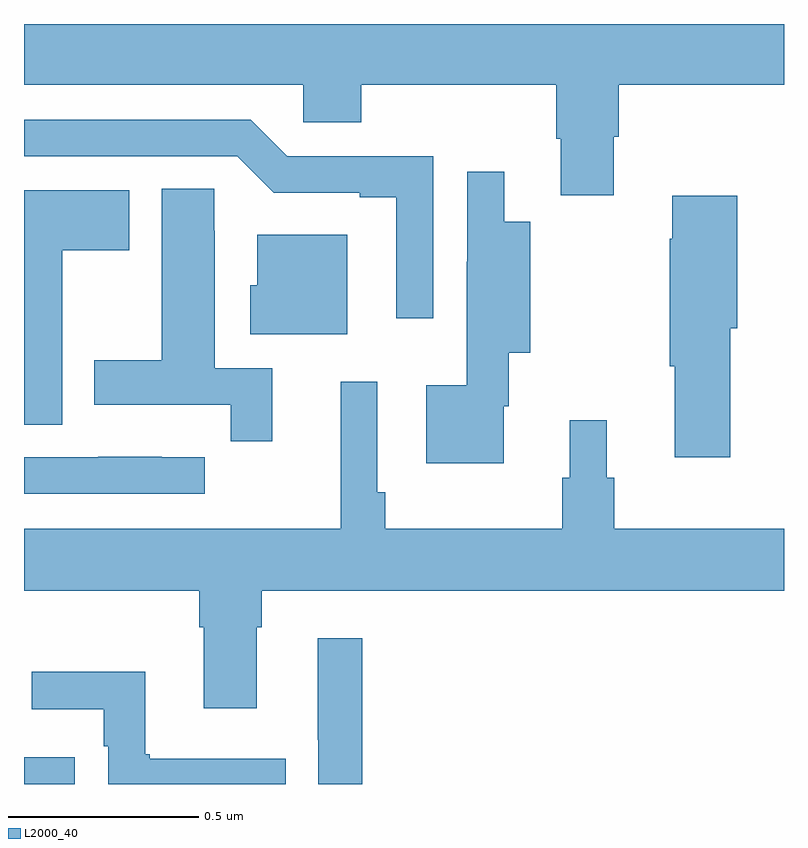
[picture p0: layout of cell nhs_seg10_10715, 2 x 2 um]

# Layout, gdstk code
import gdstk
lib = gdstk.Library(unit=1e-6, precision=1e-09)
def R(c, l, rs):  # rectangles x0, y0, x1, y1
    for r in rs: c.add(gdstk.rectangle(r[:2], r[2:], *l))
def P(c, l, *ps):  # polygons
    for p in ps: c.add(gdstk.Polygon(p, *l))
L2000_40 = (2000, 40)

nhs_seg10_10715 = lib.new_cell('nhs_seg10_10715')
R(nhs_seg10_10715, L2000_40, [(246,1274.5,246.133,1274.571)])
P(nhs_seg10_10715, L2000_40, [(247.552,1276.203),(247.565,1276.203),(247.565,1276.34),(248,1276.34),(248,1276.5),(246,1276.5),(246,1276.34),(246.735,1276.34),(246.735,1276.242),(246.887,1276.242),(246.887,1276.34),(247.4,1276.34),(247.4,1276.198),(247.412,1276.198),(247.412,1276.05),(247.552,1276.05)],
  [(247.077,1276.152),(246.693,1276.152),(246.597,1276.248),(246,1276.248),(246,1276.152),(246.561,1276.152),(246.657,1276.056),(246.884,1276.056),(246.884,1276.044),(246.98,1276.044),(246.98,1275.726),(247.077,1275.726)],
  [(247.263,1275.494),(247.276,1275.494),(247.276,1275.635),(247.332,1275.635),(247.332,1275.979),(247.264,1275.979),(247.264,1276.111),(247.166,1276.111),(247.166,1275.875),(247.165,1275.875),(247.165,1275.55),(247.058,1275.55),(247.058,1275.344),(247.263,1275.344)],
  [(246.653,1275.594),(246.502,1275.594),(246.502,1275.956),(246.501,1275.956),(246.501,1276.067),(246.362,1276.067),(246.362,1275.615),(246.185,1275.615),(246.185,1275.498),(246.544,1275.498),(246.544,1275.402),(246.653,1275.402)],
  [(246.1,1275.904),(246.277,1275.904),(246.277,1276.063),(246,1276.063),(246,1275.445),(246.1,1275.445)],
  [(247.859,1275.699),(247.877,1275.699),(247.877,1276.048),(247.706,1276.048),(247.706,1275.935),(247.699,1275.935),(247.699,1275.599),(247.712,1275.599),(247.712,1275.36),(247.859,1275.36)],
  [(246.85,1275.946),(246.614,1275.946),(246.614,1275.813),(246.596,1275.813),(246.596,1275.683),(246.85,1275.683)],
  [(246.613,1274.912),(246.626,1274.912),(246.626,1275.008),(248,1275.008),(248,1275.172),(247.553,1275.172),(247.553,1275.306),(247.534,1275.306),(247.534,1275.457),(247.436,1275.457),(247.436,1275.306),(247.417,1275.306),(247.417,1275.172),(246.95,1275.172),(246.95,1275.268),(246.93,1275.268),(246.93,1275.559),(246.833,1275.559),(246.833,1275.172),(246,1275.172),(246,1275.008),(246.461,1275.008),(246.461,1274.912),(246.473,1274.912),(246.473,1274.7),(246.613,1274.7)],
  [(246.475,1275.36),(246.362,1275.36),(246.362,1275.361),(246.196,1275.361),(246.196,1275.36),(246,1275.36),(246,1275.264),(246.475,1275.264)],
  [(246.89,1274.884),(246.773,1274.884),(246.773,1274.617),(246.774,1274.617),(246.774,1274.5),(246.89,1274.5)],
  [(246.689,1274.566),(246.331,1274.566),(246.331,1274.578),(246.319,1274.578),(246.319,1274.795),(246.021,1274.795),(246.021,1274.697),(246.21,1274.697),(246.21,1274.6),(246.222,1274.6),(246.222,1274.5),(246.689,1274.5)])

lib.write_gds('nhs_seg10_10715.gds')
